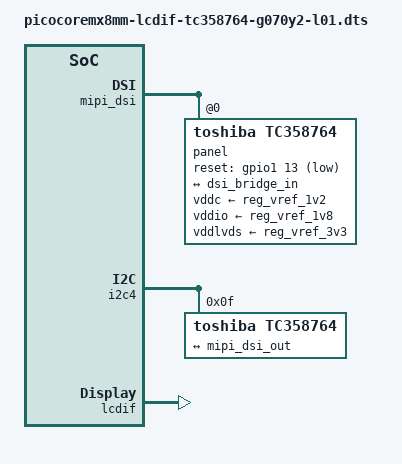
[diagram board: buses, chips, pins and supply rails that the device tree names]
/*
* Copyright (C) 2019 F&S Elektronik Systeme GmbH
*
* This program is free software; you can redistribute it and/or modify
* it under the terms of the GNU General Public License version 2 as
* published by the Free Software Foundation.
*/

#include "picocoremx8mm.dts"

&mipi_dsi {
	status = "okay";

#if 0
/* DSI mode flags */

/* video mode */
#define MIPI_DSI_MODE_VIDEO		BIT(0)
/* video burst mode */
#define MIPI_DSI_MODE_VIDEO_BURST	BIT(1)
/* video pulse mode */
#define MIPI_DSI_MODE_VIDEO_SYNC_PULSE	BIT(2)
/* enable auto vertical count mode */
#define MIPI_DSI_MODE_VIDEO_AUTO_VERT	BIT(3)
/* enable hsync-end packets in vsync-pulse and v-porch area */
#define MIPI_DSI_MODE_VIDEO_HSE		BIT(4)
/* disable hfront-porch area */
#define MIPI_DSI_MODE_VIDEO_HFP		BIT(5)
/* disable hback-porch area */
#define MIPI_DSI_MODE_VIDEO_HBP		BIT(6)
/* disable hsync-active area */
#define MIPI_DSI_MODE_VIDEO_HSA		BIT(7)
/* flush display FIFO on vsync pulse */
#define MIPI_DSI_MODE_VSYNC_FLUSH	BIT(8)
/* disable EoT packets in HS mode */
#define MIPI_DSI_MODE_EOT_PACKET	BIT(9)
/* device supports non-continuous clock behavior (DSI spec 5.6.1) */
#define MIPI_DSI_CLOCK_NON_CONTINUOUS	BIT(10)
/* transmit data in low power */
#define MIPI_DSI_MODE_LPM		BIT(11)
#endif

	panel@0{
		status = "okay";
		compatible = "toshiba,tc358764";
		reg = <0>;
		pinctrl-names = "default";
		pinctrl-0 = <&pinctrl_mipi_dsi_en>;

		clocks = <&clk IMX8MM_CLK_CLKO2>;
		reset-gpios = <&gpio1 13 GPIO_ACTIVE_LOW>;
		clock-names = "ext-clk";
		ext-clk-rate = <33500000>;


		vddc-supply = <&reg_vref_1v2>;
		vddio-supply = <&reg_vref_1v8>;
		vddlvds-supply = <&reg_vref_3v3>;

		dsi,format = <0x0>; /* MIPI_DSI_FMT_RGB888 */
		dsi,lanes = <4>;
		dsi,flags = <0xB>; /* MIPI_DSI_MODE_VIDEO MIPI_DSI_MODE_VIDEO_BURST MIPI_DSI_MODE_VIDEO_AUTO_VERT */
		refresh-rate = <60>;
        rotate = <0>;


		panel-width-mm = <154>;
		panel-height-mm = <85>;
		display-timings {
			native-mode = <&timing0>;

			timing0: innolux_g070y2_l01 {
				clock-frequency = <33500000>;
				hactive = <800>;
				vactive = <480>;
				hfront-porch = <40>;
				hsync-len = <128>;
				hback-porch = <88>;
				vfront-porch = <10>;
				vsync-len = <2>;
				vback-porch = <33>;
				de-active = <1>;
				pixelclk-active = <0>;
			};
		};

		port@1 {
			mipi_dsi_out: endpoint {
				remote-endpoint = <&dsi_bridge_in>;
			};
		};
	};
};

&i2c4 {
	tc358764@f {
		status = "okay";
		compatible = "toshiba,tc358764";
		reg = <0xf>;

		clocks = <&clk IMX8MM_CLK_CLKO2>;
		clock-names = "ref";

		ports {
			#address-cells = <1>;
			#size-cells = <0>;

			port@2 {
				reg = <2>;

				dsi_bridge_in: endpoint {
					remote-endpoint = <&mipi_dsi_out>;
				};
			};
		};
	};
};

&lcdif {
	status = "okay";
};

